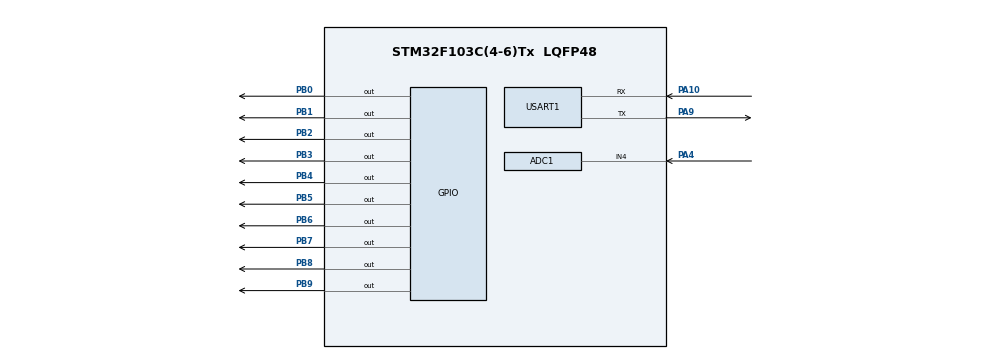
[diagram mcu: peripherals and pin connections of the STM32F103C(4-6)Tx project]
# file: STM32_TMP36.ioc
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ADC1.Channel-3\#ChannelRegularConversion=ADC_CHANNEL_4
ADC1.NbrOfConversionFlag=1
ADC1.Rank-3\#ChannelRegularConversion=1
ADC1.SamplingTime-3\#ChannelRegularConversion=ADC_SAMPLETIME_1CYCLE_5
ADC1.master=1
Mcu.Family=STM32F1
Mcu.Name=STM32F103C(4-6)Tx
Mcu.Package=LQFP48
NVIC.PriorityGroup=NVIC_PRIORITYGROUP_4
PA10.Mode=Asynchronous
PA10.Signal=USART1_RX
PA4.Signal=ADCx_IN4
PA9.Mode=Asynchronous
PA9.Signal=USART1_TX
PB0.Signal=GPIO_Output
PB1.Signal=GPIO_Output
PB2.Signal=GPIO_Output
PB3.Signal=GPIO_Output
PB4.Signal=GPIO_Output
PB5.Signal=GPIO_Output
PB6.Signal=GPIO_Output
PB7.Signal=GPIO_Output
PB8.Signal=GPIO_Output
PB9.Signal=GPIO_Output
ProjectManager.HeapSize=0x200
ProjectManager.StackSize=0x400
ProjectManager.TargetToolchain=STM32CubeIDE
RCC.APB1Freq_Value=8000000
RCC.APB2Freq_Value=8000000
SH.ADCx_IN4.0=ADC1_IN4,IN4
USART1.VirtualMode=VM_ASYNC
VP_SYS_VS_ND.Mode=No_Debug
board=custom

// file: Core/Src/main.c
/* USER CODE BEGIN Header */
/**
  ******************************************************************************
  * @file           : main.c
  * @brief          : Main program body
  ******************************************************************************
  * @attention
  *
  * Copyright (c) 2024 STMicroelectronics.
  * All rights reserved.
  *
  * This software is licensed under terms that can be found in the LICENSE file
  * in the root directory of this software component.
  * If no LICENSE file comes with this software, it is provided AS-IS.
  *
  ******************************************************************************
  */
/* USER CODE END Header */
#include "main.h"

/* USER CODE BEGIN Includes */
#include "LiquidCrystal.h"
#include<string.h>
#include<stdio.h>
/* USER CODE END Includes */

ADC_HandleTypeDef hadc1;

UART_HandleTypeDef huart1;

/* USER CODE BEGIN PV */
float Voltage_mV = 0;
float Temperature_C = 0;
float Temperature_F = 0;
char msg[50];
/* USER CODE END PV */

void SystemClock_Config(void);
static void MX_GPIO_Init(void);
static void MX_ADC1_Init(void);
static void MX_USART1_UART_Init(void);

int main(void)
{

  /* MCU Configuration--------------------------------------------------------*/

  /* Reset of all peripherals, Initializes the Flash interface and the Systick. */
  HAL_Init();

  /* Configure the system clock */
  SystemClock_Config();

  /* Initialize all configured peripherals */
  MX_GPIO_Init();
  MX_ADC1_Init();
  MX_USART1_UART_Init();
  /* USER CODE BEGIN 2 */
  LiquidCrystal(GPIOB, GPIO_PIN_3, GPIO_PIN_4, GPIO_PIN_5, GPIO_PIN_6, GPIO_PIN_7, GPIO_PIN_8, GPIO_PIN_9);
  begin(16, 2);
  /* USER CODE END 2 */

  /* Infinite loop */
  while (1)
  {

    /* USER CODE BEGIN 3 */
	  HAL_ADC_Start(&hadc1);                    // Start ADC Conversion
	  HAL_ADC_PollForConversion(&hadc1, 1);     // Poll ADC1 and Timeout = 1mSec
	  uint32_t adc_value = HAL_ADC_GetValue(&hadc1);  // Read the ADC Conversion Result
	  HAL_ADC_Stop(&hadc1);

	  // Calculate voltage and temperature
	  Voltage_mV = (((adc_value * 3.3) / 4095.0) - 0.5) * 1000;
	  Temperature_C = Voltage_mV / 10;
	  Temperature_F = (Temperature_C * 1.8) + 32;

	  // Transmit temperature over UART
	  char msg[100];
	  sprintf(msg, "TempC: %.2f C", Temperature_C);
	  	 setCursor(0, 0);
	  	 print(msg);

	  	 sprintf(msg, "TempF: %.2f F", Temperature_F);
	  	 setCursor(0, 1);
	  	 print(msg);
	  // LED Alerts for Temperature Levels
	  if (Temperature_C > 60) {
	      HAL_GPIO_WritePin(GPIOB, GPIO_PIN_1, GPIO_PIN_SET);     // Red LED ON
	      HAL_GPIO_WritePin(GPIOB, GPIO_PIN_2, GPIO_PIN_RESET);   // Blue LED OFF
	      HAL_GPIO_WritePin(GPIOB, GPIO_PIN_0, GPIO_PIN_RESET);   // Green LED OFF

	      sprintf(msg, "LED: Red ON (Temperature > 60 degrees Celsius)\r\n");
	      HAL_UART_Transmit(&huart1, (uint8_t*)msg, strlen(msg), HAL_MAX_DELAY);
	  } else if (Temperature_C < 20) {
	      HAL_GPIO_WritePin(GPIOB, GPIO_PIN_2, GPIO_PIN_SET);   // Blue LED ON
	      HAL_GPIO_WritePin(GPIOB, GPIO_PIN_1, GPIO_PIN_RESET);     // Red LED OFF
	      HAL_GPIO_WritePin(GPIOB, GPIO_PIN_0, GPIO_PIN_RESET);   // Green LED OFF
	      sprintf(msg, "LED: Blue ON (Temperature < 20 degrees Celsius)\r\n");
	      HAL_UART_Transmit(&huart1, (uint8_t*)msg, strlen(msg), HAL_MAX_DELAY);
	  } else {
	      HAL_GPIO_WritePin(GPIOB, GPIO_PIN_0, GPIO_PIN_SET);   // Green LED ON
	      HAL_GPIO_WritePin(GPIOB, GPIO_PIN_2, GPIO_PIN_RESET);   // Blue LED OFF
	      HAL_GPIO_WritePin(GPIOB, GPIO_PIN_1, GPIO_PIN_RESET);     // Red LED OFF
	      sprintf(msg, "LED: Green ON (20 degrees Celsius <= Temperature <= 60 degrees Celsius)\r\n");
	      HAL_UART_Transmit(&huart1, (uint8_t*)msg, strlen(msg), HAL_MAX_DELAY);
	  }

	  HAL_Delay(2000);
	  clear();

  }
  /* USER CODE END 3 */
}

void SystemClock_Config(void)
{
  RCC_OscInitTypeDef RCC_OscInitStruct = {0};
  RCC_ClkInitTypeDef RCC_ClkInitStruct = {0};
  RCC_PeriphCLKInitTypeDef PeriphClkInit = {0};

  /** Initializes the RCC Oscillators according to the specified parameters
  * in the RCC_OscInitTypeDef structure.
  */
  RCC_OscInitStruct.OscillatorType = RCC_OSCILLATORTYPE_HSI;
  RCC_OscInitStruct.HSIState = RCC_HSI_ON;
  RCC_OscInitStruct.HSICalibrationValue = RCC_HSICALIBRATION_DEFAULT;
  RCC_OscInitStruct.PLL.PLLState = RCC_PLL_NONE;
  if (HAL_RCC_OscConfig(&RCC_OscInitStruct) != HAL_OK)
  {
    Error_Handler();
  }

  /** Initializes the CPU, AHB and APB buses clocks
  */
  RCC_ClkInitStruct.ClockType = RCC_CLOCKTYPE_HCLK|RCC_CLOCKTYPE_SYSCLK
                              |RCC_CLOCKTYPE_PCLK1|RCC_CLOCKTYPE_PCLK2;
  RCC_ClkInitStruct.SYSCLKSource = RCC_SYSCLKSOURCE_HSI;
  RCC_ClkInitStruct.AHBCLKDivider = RCC_SYSCLK_DIV1;
  RCC_ClkInitStruct.APB1CLKDivider = RCC_HCLK_DIV1;
  RCC_ClkInitStruct.APB2CLKDivider = RCC_HCLK_DIV1;

  if (HAL_RCC_ClockConfig(&RCC_ClkInitStruct, FLASH_LATENCY_0) != HAL_OK)
  {
    Error_Handler();
  }
  PeriphClkInit.PeriphClockSelection = RCC_PERIPHCLK_ADC;
  PeriphClkInit.AdcClockSelection = RCC_ADCPCLK2_DIV2;
  if (HAL_RCCEx_PeriphCLKConfig(&PeriphClkInit) != HAL_OK)
  {
    Error_Handler();
  }
}

static void MX_ADC1_Init(void)
{

  ADC_ChannelConfTypeDef sConfig = {0};

  /** Common config
  */
  hadc1.Instance = ADC1;
  hadc1.Init.ScanConvMode = ADC_SCAN_DISABLE;
  hadc1.Init.ContinuousConvMode = DISABLE;
  hadc1.Init.DiscontinuousConvMode = DISABLE;
  hadc1.Init.ExternalTrigConv = ADC_SOFTWARE_START;
  hadc1.Init.DataAlign = ADC_DATAALIGN_RIGHT;
  hadc1.Init.NbrOfConversion = 1;
  if (HAL_ADC_Init(&hadc1) != HAL_OK)
  {
    Error_Handler();
  }

  /** Configure Regular Channel
  */
  sConfig.Channel = ADC_CHANNEL_4;
  sConfig.Rank = ADC_REGULAR_RANK_1;
  sConfig.SamplingTime = ADC_SAMPLETIME_1CYCLE_5;
  if (HAL_ADC_ConfigChannel(&hadc1, &sConfig) != HAL_OK)
  {
    Error_Handler();
  }

}

static void MX_USART1_UART_Init(void)
{

  huart1.Instance = USART1;
  huart1.Init.BaudRate = 115200;
  huart1.Init.WordLength = UART_WORDLENGTH_8B;
  huart1.Init.StopBits = UART_STOPBITS_1;
  huart1.Init.Parity = UART_PARITY_NONE;
  huart1.Init.Mode = UART_MODE_TX_RX;
  huart1.Init.HwFlowCtl = UART_HWCONTROL_NONE;
  huart1.Init.OverSampling = UART_OVERSAMPLING_16;
  if (HAL_UART_Init(&huart1) != HAL_OK)
  {
    Error_Handler();
  }

}

static void MX_GPIO_Init(void)
{
  GPIO_InitTypeDef GPIO_InitStruct = {0};

  /* GPIO Ports Clock Enable */
  __HAL_RCC_GPIOA_CLK_ENABLE();
  __HAL_RCC_GPIOB_CLK_ENABLE();

  /*Configure GPIO pin Output Level */
  HAL_GPIO_WritePin(GPIOB, GPIO_PIN_0|GPIO_PIN_1|GPIO_PIN_2|GPIO_PIN_3
                          |GPIO_PIN_4|GPIO_PIN_5|GPIO_PIN_6|GPIO_PIN_7
                          |GPIO_PIN_8|GPIO_PIN_9, GPIO_PIN_RESET);

  /*Configure GPIO pins : PB0 PB1 PB2 PB3
                           PB4 PB5 PB6 PB7
                           PB8 PB9 */
  GPIO_InitStruct.Pin = GPIO_PIN_0|GPIO_PIN_1|GPIO_PIN_2|GPIO_PIN_3
                          |GPIO_PIN_4|GPIO_PIN_5|GPIO_PIN_6|GPIO_PIN_7
                          |GPIO_PIN_8|GPIO_PIN_9;
  GPIO_InitStruct.Mode = GPIO_MODE_OUTPUT_PP;
  GPIO_InitStruct.Pull = GPIO_NOPULL;
  GPIO_InitStruct.Speed = GPIO_SPEED_FREQ_LOW;
  HAL_GPIO_Init(GPIOB, &GPIO_InitStruct);

}

void Error_Handler(void)
{
  __disable_irq();
  while (1)
  {
  }
}
